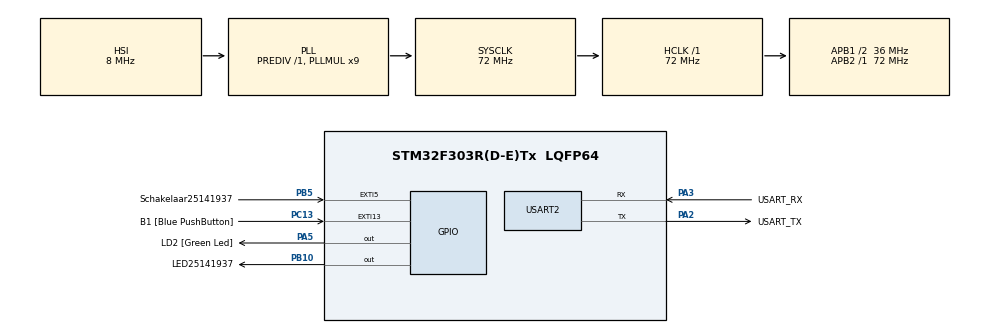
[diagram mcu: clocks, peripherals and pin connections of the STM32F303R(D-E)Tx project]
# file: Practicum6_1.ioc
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Mcu.Family=STM32F3
Mcu.Name=STM32F303R(D-E)Tx
Mcu.Package=LQFP64
NVIC.EXTI9_5_IRQn=true\:0\:0\:false\:false\:true\:true\:true\:true
NVIC.PriorityGroup=NVIC_PRIORITYGROUP_0
NVIC.USART2_IRQn=true\:0\:0\:false\:false\:true\:true\:true\:true
PA13.GPIO_Label=TMS
PA13.Mode=Serial_Wire
PA13.Signal=SYS_JTMS-SWDIO
PA14.GPIO_Label=TCK
PA14.Mode=Serial_Wire
PA14.Signal=SYS_JTCK-SWCLK
PA2.GPIO_Label=USART_TX
PA2.GPIO_Mode=GPIO_MODE_AF_PP
PA2.GPIO_PuPd=GPIO_NOPULL
PA2.GPIO_Speed=GPIO_SPEED_FREQ_LOW
PA2.Mode=Asynchronous
PA2.Signal=USART2_TX
PA3.GPIO_Label=USART_RX
PA3.GPIO_Mode=GPIO_MODE_AF_PP
PA3.GPIO_PuPd=GPIO_NOPULL
PA3.GPIO_Speed=GPIO_SPEED_FREQ_LOW
PA3.Mode=Asynchronous
PA3.Signal=USART2_RX
PA5.GPIO_Label=LD2 [Green Led]
PA5.GPIO_Mode=GPIO_MODE_OUTPUT_PP
PA5.GPIO_PuPd=GPIO_NOPULL
PA5.GPIO_Speed=GPIO_SPEED_FREQ_LOW
PA5.Signal=GPIO_Output
PB10.GPIO_Label=LED25141937
PB10.Signal=GPIO_Output
PB3.GPIO_Label=SWO
PB3.Signal=SYS_JTDO-TRACESWO
PB5.GPIO_Label=Schakelaar25141937
PB5.GPIO_ModeDefaultEXTI=GPIO_MODE_IT_FALLING
PB5.GPIO_PuPd=GPIO_PULLUP
PB5.Signal=GPXTI5
PC13.GPIO_Label=B1 [Blue PushButton]
PC13.GPIO_ModeDefaultEXTI=GPIO_MODE_IT_FALLING
PC13.Signal=GPXTI13
PC14-OSC32_IN.Mode=LSE-External-Oscillator
PC14-OSC32_IN.Signal=RCC_OSC32_IN
PC15-OSC32_OUT.Mode=LSE-External-Oscillator
PC15-OSC32_OUT.Signal=RCC_OSC32_OUT
PF0-OSC_IN.Mode=HSE-External-Clock-Source
PF0-OSC_IN.Signal=RCC_OSC_IN
PF1-OSC_OUT.Signal=RCC_OSC_OUT
ProjectManager.HeapSize=0x200
ProjectManager.StackSize=0x400
ProjectManager.TargetToolchain=STM32CubeIDE
RCC.AHBFreq_Value=72000000
RCC.APB1CLKDivider=RCC_HCLK_DIV2
RCC.APB1Freq_Value=36000000
RCC.APB1TimFreq_Value=72000000
RCC.APB2Freq_Value=72000000
RCC.APB2TimFreq_Value=72000000
RCC.CortexFreq_Value=72000000
RCC.HCLKFreq_Value=72000000
RCC.HSE_VALUE=8000000
RCC.HSI_VALUE=8000000
RCC.PLLM=8
RCC.PLLMUL=RCC_PLL_MUL9
RCC.PLLN=336
RCC.PLLP=RCC_PLLP_DIV4
RCC.PLLQ=7
RCC.RCC_PLLsource_Clock_Source_FROM_HSE=RCC_HSE_PREDIV_DIV2
RCC.SYSCLKFreq_VALUE=72000000
RCC.SYSCLKSourceVirtual=RCC_SYSCLKSOURCE_PLLCLK
RCC.USBFreq_Value=72000000
USART2.VirtualMode-Asynchronous=VM_ASYNC
board=NUCLEO-F303RE

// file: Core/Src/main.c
/* USER CODE BEGIN Header */
/**
  ******************************************************************************
  * @file           : main.c
  * @brief          : Main program body
  ******************************************************************************
  * @attention
  *
  * Copyright (c) 2026 STMicroelectronics.
  * All rights reserved.
  *
  * This software is licensed under terms that can be found in the LICENSE file
  * in the root directory of this software component.
  * If no LICENSE file comes with this software, it is provided AS-IS.
  *
  ******************************************************************************
  */
/* USER CODE END Header */
#include "main.h"

UART_HandleTypeDef huart2;

/* USER CODE BEGIN PV */
int wachttijd = 1000;
char rx_buffer[20]; /*Ontvangen tekst via UART opslaan */
uint8_t rx_index = 0; /*Houdt bij op welke positie je in rx_buffer zit (1e teken -> index 0, 2e teken -> index 1) */
uint8_t rx_char; /*Variabele voor 1 ontvangen teken */
int nieuw_getal = 0;
/* USER CODE END PV */

void SystemClock_Config(void);
static void MX_GPIO_Init(void);
static void MX_USART2_UART_Init(void);

int main(void)
{

  /* MCU Configuration--------------------------------------------------------*/

  /* Reset of all peripherals, Initializes the Flash interface and the Systick. */
  HAL_Init();

  /* Configure the system clock */
  SystemClock_Config();

  /* Initialize all configured peripherals */
  MX_GPIO_Init();
  MX_USART2_UART_Init();
  /* USER CODE BEGIN 2 */
  HAL_UART_Receive_IT(&huart2, &rx_char, 1); /*rx_char bevat 1 byte die net binnenkomt, die wordt daarna in rx_buffer[rx_index] gezet */
  /* USER CODE END 2 */

  /* Infinite loop */
  /* USER CODE BEGIN WHILE */
  /* USER CODE BEGIN 3 */

  while (1)
  {
      // ----- LED KNIPPEREN OP BASIS VAN UART GETAL -----
      if (nieuw_getal > 0) /*Controleert of er een getal via UART binnen is gekomen */
      {
          for (int i = 0; i < nieuw_getal; i++) /*Start een teller i, loopt: van 0 tot nieuw_getal -1, de code in de lus wordt nieuw_getal keer uitgevoerd */
          {
              HAL_GPIO_TogglePin(LED25141937_GPIO_Port, LED25141937_Pin); /*Wisselt huidige LED-status (was uit -> wordt aan, vice versa) */
              HAL_Delay(300);
              HAL_GPIO_TogglePin(LED25141937_GPIO_Port, LED25141937_Pin);
              HAL_Delay(300);
          }

          nieuw_getal = 0; /*Zorgt ervoor dat het knipperen maar 1 keer gebeurt, hetzelfde getal niet opnieuw wordt gebruikt */
      }

      // ----- BLĲVEN KNIPPEREN OP INTERVAL -----
      HAL_GPIO_TogglePin(LED25141937_GPIO_Port, LED25141937_Pin);
      HAL_Delay(wachttijd);
  }
  /* USER CODE END 3 */
}

void SystemClock_Config(void)
{
  RCC_OscInitTypeDef RCC_OscInitStruct = {0};
  RCC_ClkInitTypeDef RCC_ClkInitStruct = {0};
  RCC_PeriphCLKInitTypeDef PeriphClkInit = {0};

  /** Initializes the RCC Oscillators according to the specified parameters
  * in the RCC_OscInitTypeDef structure.
  */
  RCC_OscInitStruct.OscillatorType = RCC_OSCILLATORTYPE_HSI;
  RCC_OscInitStruct.HSIState = RCC_HSI_ON;
  RCC_OscInitStruct.HSICalibrationValue = RCC_HSICALIBRATION_DEFAULT;
  RCC_OscInitStruct.PLL.PLLState = RCC_PLL_ON;
  RCC_OscInitStruct.PLL.PLLSource = RCC_PLLSOURCE_HSI;
  RCC_OscInitStruct.PLL.PLLMUL = RCC_PLL_MUL9;
  RCC_OscInitStruct.PLL.PREDIV = RCC_PREDIV_DIV1;
  if (HAL_RCC_OscConfig(&RCC_OscInitStruct) != HAL_OK)
  {
    Error_Handler();
  }

  /** Initializes the CPU, AHB and APB buses clocks
  */
  RCC_ClkInitStruct.ClockType = RCC_CLOCKTYPE_HCLK|RCC_CLOCKTYPE_SYSCLK
                              |RCC_CLOCKTYPE_PCLK1|RCC_CLOCKTYPE_PCLK2;
  RCC_ClkInitStruct.SYSCLKSource = RCC_SYSCLKSOURCE_PLLCLK;
  RCC_ClkInitStruct.AHBCLKDivider = RCC_SYSCLK_DIV1;
  RCC_ClkInitStruct.APB1CLKDivider = RCC_HCLK_DIV2;
  RCC_ClkInitStruct.APB2CLKDivider = RCC_HCLK_DIV1;

  if (HAL_RCC_ClockConfig(&RCC_ClkInitStruct, FLASH_LATENCY_2) != HAL_OK)
  {
    Error_Handler();
  }
  PeriphClkInit.PeriphClockSelection = RCC_PERIPHCLK_USART2;
  PeriphClkInit.Usart2ClockSelection = RCC_USART2CLKSOURCE_PCLK1;
  if (HAL_RCCEx_PeriphCLKConfig(&PeriphClkInit) != HAL_OK)
  {
    Error_Handler();
  }
}

static void MX_USART2_UART_Init(void)
{

  huart2.Instance = USART2;
  huart2.Init.BaudRate = 38400;
  huart2.Init.WordLength = UART_WORDLENGTH_8B;
  huart2.Init.StopBits = UART_STOPBITS_1;
  huart2.Init.Parity = UART_PARITY_NONE;
  huart2.Init.Mode = UART_MODE_TX_RX;
  huart2.Init.HwFlowCtl = UART_HWCONTROL_NONE;
  huart2.Init.OverSampling = UART_OVERSAMPLING_16;
  huart2.Init.OneBitSampling = UART_ONE_BIT_SAMPLE_DISABLE;
  huart2.AdvancedInit.AdvFeatureInit = UART_ADVFEATURE_NO_INIT;
  if (HAL_UART_Init(&huart2) != HAL_OK)
  {
    Error_Handler();
  }

}

static void MX_GPIO_Init(void)
{
  GPIO_InitTypeDef GPIO_InitStruct = {0};

  /* GPIO Ports Clock Enable */
  __HAL_RCC_GPIOC_CLK_ENABLE();
  __HAL_RCC_GPIOF_CLK_ENABLE();
  __HAL_RCC_GPIOA_CLK_ENABLE();
  __HAL_RCC_GPIOB_CLK_ENABLE();

  /*Configure GPIO pin Output Level */
  HAL_GPIO_WritePin(LD2_GPIO_Port, LD2_Pin, GPIO_PIN_RESET);

  /*Configure GPIO pin Output Level */
  HAL_GPIO_WritePin(LED25141937_GPIO_Port, LED25141937_Pin, GPIO_PIN_RESET);

  /*Configure GPIO pin : B1_Pin */
  GPIO_InitStruct.Pin = B1_Pin;
  GPIO_InitStruct.Mode = GPIO_MODE_IT_FALLING;
  GPIO_InitStruct.Pull = GPIO_NOPULL;
  HAL_GPIO_Init(B1_GPIO_Port, &GPIO_InitStruct);

  /*Configure GPIO pin : LD2_Pin */
  GPIO_InitStruct.Pin = LD2_Pin;
  GPIO_InitStruct.Mode = GPIO_MODE_OUTPUT_PP;
  GPIO_InitStruct.Pull = GPIO_NOPULL;
  GPIO_InitStruct.Speed = GPIO_SPEED_FREQ_LOW;
  HAL_GPIO_Init(LD2_GPIO_Port, &GPIO_InitStruct);

  /*Configure GPIO pin : LED25141937_Pin */
  GPIO_InitStruct.Pin = LED25141937_Pin;
  GPIO_InitStruct.Mode = GPIO_MODE_OUTPUT_PP;
  GPIO_InitStruct.Pull = GPIO_NOPULL;
  GPIO_InitStruct.Speed = GPIO_SPEED_FREQ_LOW;
  HAL_GPIO_Init(LED25141937_GPIO_Port, &GPIO_InitStruct);

  /*Configure GPIO pin : Schakelaar25141937_Pin */
  GPIO_InitStruct.Pin = Schakelaar25141937_Pin;
  GPIO_InitStruct.Mode = GPIO_MODE_IT_FALLING;
  GPIO_InitStruct.Pull = GPIO_PULLUP;
  HAL_GPIO_Init(Schakelaar25141937_GPIO_Port, &GPIO_InitStruct);

  /* EXTI interrupt init*/
  HAL_NVIC_SetPriority(EXTI9_5_IRQn, 0, 0);
  HAL_NVIC_EnableIRQ(EXTI9_5_IRQn);

}

/* USER CODE BEGIN 4 */
void HAL_GPIO_EXTI_Callback(uint16_t GPIO_Pin) //Wordt automatisch aangeroepen wanneer een EXTI-interrupt plaatsvindt (drukknop die een interrupt genereert)
{
    if (GPIO_Pin == Schakelaar25141937_Pin) //Controleert of interrupt van mijn knop komt (omdat meerdere GPIO-pins zelfde callback gebruiken
    {
        wachttijd -= 100;      // Haalt 100 ms van de wachttijd af -> LED gaat sneller knipperen

        if (wachttijd < 100)   // Controleert of de wachttijd minder dan 100 ms is geworden
        {
            wachttijd = 1000; // Zet de wachttijd terug naar 1000 ms
        }
    }
}

void HAL_UART_RxCpltCallback(UART_HandleTypeDef *huart) //Functie wordt automatisch aangeroepen door HAL elke keer dat 1 byte via UART is ontvangen + vertelt welke UART de data veroorzaakte
{
	if (huart->Instance == USART2) //USART2 wordt gebruikt -> voorkomt dat data van andere UARTs per ongeluk wordt verwerkt
	{
		if (rx_char == '\r') // Controleren op enter (carriage return)
		{
			rx_buffer[rx_index] = '\0'; //Plaatst een null-terminator + maakt van rx_buffer een geldige C-string
			nieuw_getal = atoi(rx_buffer); //Zet tekst om naar een int ("250"-> 250)
			rx_index = 0; //klaar met deze invoer, buffer mag opnieuw gevuld worden
		}
		else // Als het geen enter is
		{
			rx_buffer[rx_index++] = rx_char; //Slaat het ontvangen teken op in de buffer, rx_index wordt verhoogd -> teken voor teken een string opbouwen

			if (rx_index >= sizeof(rx_buffer)) //Voorkomt dat er buiten de buffer wordt geschreven -> bij te lange invoer, buffer wordt leeggetrokken + opnieuw begonnen
			{
				rx_index = 0;
			}
		}
		HAL_UART_Receive_IT(&huart2, &rx_char, 1); //start opnieuw een interrupt-ontvangst (zonder slechts 1 teken ontvangen), blijft continue luisteren
	}
}

/* USER CODE END 4 */

void Error_Handler(void)
{
  __disable_irq();
  while (1)
  {
  }
}
